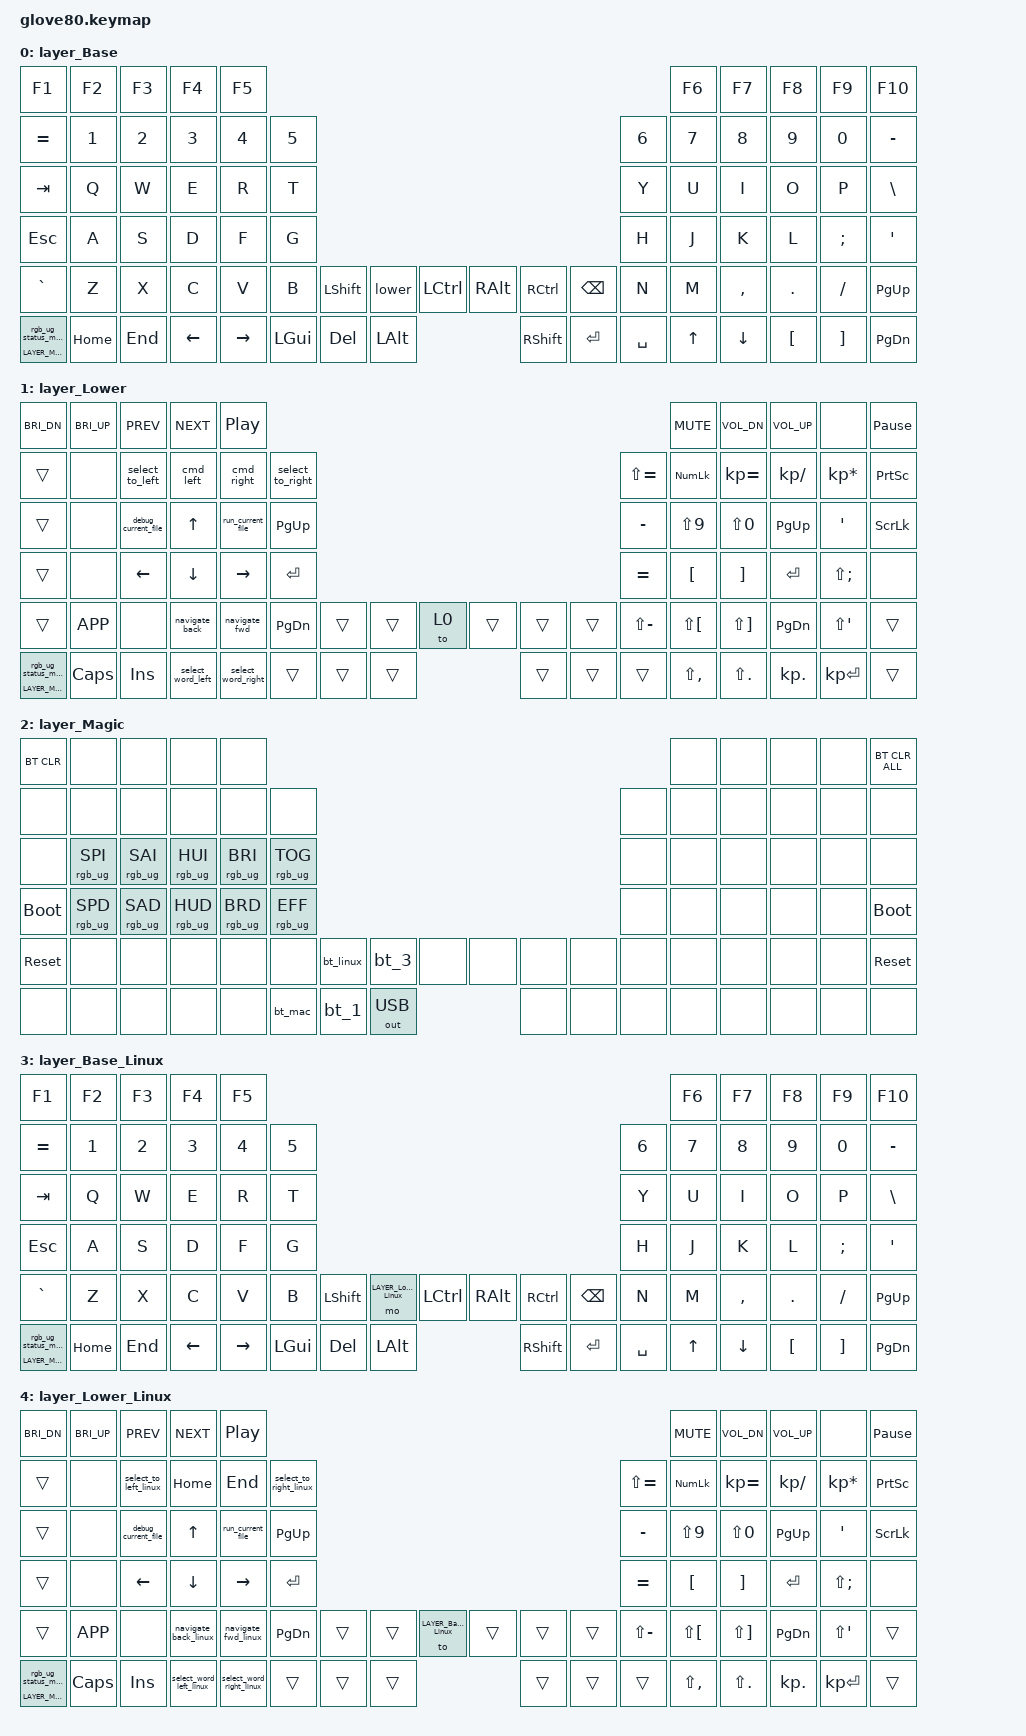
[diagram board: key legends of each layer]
/*
 * Copyright (c) 2020 The ZMK Contributors
 * Copyright (c) 2025 Innaworks Development Limited, trading as MoErgo
 *
 * SPDX-License-Identifier: MIT
 */


/* THIS FILE WAS GENERATED BY GLOVE80 LAYOUT EDITOR
 *
 * This file was generated automatically. You may or may not want to
 * edit it directly.
 */

#include <behaviors.dtsi>
/* Include all behavior includes needed */
#include <dt-bindings/zmk/outputs.h>
#include <dt-bindings/zmk/keys.h>
#include <dt-bindings/zmk/bt.h>
#include <dt-bindings/zmk/rgb.h>

/* On demand includes */


/* Helper Macros, based on https://github.com/urob/zmk-helpers/ */

#pragma once

#define ZMK_HELPER_STRINGIFY(x) #x

// Preprocessor mechanism to overload macros, cf. https://stackoverflow.com/a/27051616/6114651
#define VARGS_(_10, _9, _8, _7, _6, _5, _4, _3, _2, _1, N, ...) N
#define VARGS(...) VARGS_(__VA_ARGS__, 10, 9, 8, 7, 6, 5, 4, 3, 2, 1, 0)
#define CONCAT_(a, b) a##b
#define CONCAT(a, b) CONCAT_(a, b)

#define ZMK_BEHAVIOR_CORE_tap_dance  \
    compatible = "zmk,behavior-tap-dance"; \
    #binding-cells = <0>

#define ZMK_BEHAVIOR(name, type, ...) \
    name: name { \
        ZMK_BEHAVIOR_CORE_ ## type; \
        __VA_ARGS__ \
    };

#define ZMK_TAP_DANCE(name, ...) \
    ZMK_BEHAVIOR(name, tap_dance, __VA_ARGS__)

#define ZMK_TD_LAYER(name, layer) \
    ZMK_TAP_DANCE(name, \
        tapping-term-ms = <200>; \
        bindings = <&mo layer>, <&to layer>; \
)

/* Environment and metadata defines */
#define KB_TYPE_GLOVE_80 1
#define KB_TYPE_GO_60    2

#define KB_TYPE          KB_TYPE_GLOVE_80
#define EDITOR_HOST_OS   'M'

/* Automatically generated layer name defines */
#define LAYER_Base 0
#define LAYER_Lower 1
#define LAYER_Magic 2
#define LAYER_Base_Linux 3
#define LAYER_Lower_Linux 4

/* To deal with the situation where there is no Lower layer, to keep &lower happy */
#ifndef LAYER_Lower
#define LAYER_Lower 0
#endif

/* Custom Device-tree */


/* Input Listeners */


/* System behavior and Macros */
/ {
    behaviors {
        ZMK_TD_LAYER(lower, LAYER_Lower)
    };
};

/ {
    macros {
        rgb_ug_status_macro: rgb_ug_status_macro {
            label = "RGB_UG_STATUS";
            compatible = "zmk,behavior-macro";
            #binding-cells = <0>;
            bindings
                = <&rgb_ug RGB_STATUS>;
        };
    };
};


/ {
#ifdef BT_DISC_CMD
    behaviors {
        bt_0: bt_0 {
            compatible = "zmk,behavior-tap-dance";
            label = "BT_0";
            #binding-cells = <0>;
            tapping-term-ms = <200>;
            bindings = <&bt_select_0>, <&bt BT_DISC 0>;
        };
        bt_1: bt_1 {
            compatible = "zmk,behavior-tap-dance";
            label = "BT_1";
            #binding-cells = <0>;
            tapping-term-ms = <200>;
            bindings = <&bt_select_1>, <&bt BT_DISC 1>;
        };
        bt_2: bt_2 {
            compatible = "zmk,behavior-tap-dance";
            label = "BT_2";
            #binding-cells = <0>;
            tapping-term-ms = <200>;
            bindings = <&bt_select_2>, <&bt BT_DISC 2>;
        };
        bt_3: bt_3 {
            compatible = "zmk,behavior-tap-dance";
            label = "BT_3";
            #binding-cells = <0>;
            tapping-term-ms = <200>;
            bindings = <&bt_select_3>, <&bt BT_DISC 3>;
        };
    };
    macros {
        bt_select_0: bt_select_0 {
            label = "BT_SELECT_0";
            compatible = "zmk,behavior-macro";
            #binding-cells = <0>;
            bindings
                = <&out OUT_BLE>,
                  <&bt BT_SEL 0>;
        };
        bt_select_1: bt_select_1 {
            label = "BT_SELECT_1";
            compatible = "zmk,behavior-macro";
            #binding-cells = <0>;
            bindings
                = <&out OUT_BLE>,
                  <&bt BT_SEL 1>;
        };
        bt_select_2: bt_select_2 {
            label = "BT_SELECT_2";
            compatible = "zmk,behavior-macro";
            #binding-cells = <0>;
            bindings
                = <&out OUT_BLE>,
                  <&bt BT_SEL 2>;
        };
        bt_select_3: bt_select_3 {
            label = "BT_SELECT_3";
            compatible = "zmk,behavior-macro";
            #binding-cells = <0>;
            bindings
                = <&out OUT_BLE>,
                  <&bt BT_SEL 3>;
        };
    };
#else
    macros {
        bt_0: bt_0 {
            label = "BT_0";
            compatible = "zmk,behavior-macro";
            #binding-cells = <0>;
            bindings
                = <&out OUT_BLE>,
                  <&bt BT_SEL 0>;
        };
        bt_1: bt_1 {
            label = "BT_1";
            compatible = "zmk,behavior-macro";
            #binding-cells = <0>;
            bindings
                = <&out OUT_BLE>,
                  <&bt BT_SEL 1>;
        };
        bt_2: bt_2 {
            label = "BT_2";
            compatible = "zmk,behavior-macro";
            #binding-cells = <0>;
            bindings
                = <&out OUT_BLE>,
                  <&bt BT_SEL 2>;
        };
        bt_3: bt_3 {
            label = "BT_3";
            compatible = "zmk,behavior-macro";
            #binding-cells = <0>;
            bindings
                = <&out OUT_BLE>,
                  <&bt BT_SEL 3>;
        };
    };
#endif
};

/ {
    behaviors {
        magic: magic {
            compatible = "zmk,behavior-hold-tap";
            label = "MAGIC_HOLD_TAP";
            #binding-cells = <2>;
            flavor = "tap-preferred";
            tapping-term-ms = <200>;
            bindings = <&mo>, <&rgb_ug_status_macro>;
        };
    };
};


/* Key positions */

#define POS_LH_C6R1 0
#define POS_LH_C5R1 1
#define POS_LH_C4R1 2
#define POS_LH_C3R1 3
#define POS_LH_C2R1 4
#define POS_RH_C2R1 5
#define POS_RH_C3R1 6
#define POS_RH_C4R1 7
#define POS_RH_C5R1 8
#define POS_RH_C6R1 9
#define POS_LH_C6R2 10
#define POS_LH_C5R2 11
#define POS_LH_C4R2 12
#define POS_LH_C3R2 13
#define POS_LH_C2R2 14
#define POS_LH_C1R2 15
#define POS_RH_C1R2 16
#define POS_RH_C2R2 17
#define POS_RH_C3R2 18
#define POS_RH_C4R2 19
#define POS_RH_C5R2 20
#define POS_RH_C6R2 21
#define POS_LH_C6R3 22
#define POS_LH_C5R3 23
#define POS_LH_C4R3 24
#define POS_LH_C3R3 25
#define POS_LH_C2R3 26
#define POS_LH_C1R3 27
#define POS_RH_C1R3 28
#define POS_RH_C2R3 29
#define POS_RH_C3R3 30
#define POS_RH_C4R3 31
#define POS_RH_C5R3 32
#define POS_RH_C6R3 33
#define POS_LH_C6R4 34
#define POS_LH_C5R4 35
#define POS_LH_C4R4 36
#define POS_LH_C3R4 37
#define POS_LH_C2R4 38
#define POS_LH_C1R4 39
#define POS_RH_C1R4 40
#define POS_RH_C2R4 41
#define POS_RH_C3R4 42
#define POS_RH_C4R4 43
#define POS_RH_C5R4 44
#define POS_RH_C6R4 45
#define POS_LH_C6R5 46
#define POS_LH_C5R5 47
#define POS_LH_C4R5 48
#define POS_LH_C3R5 49
#define POS_LH_C2R5 50
#define POS_LH_C1R5 51
#define POS_LH_T1 52
#define POS_LH_T2 53
#define POS_LH_T3 54
#define POS_RH_T3 55
#define POS_RH_T2 56
#define POS_RH_T1 57
#define POS_RH_C1R5 58
#define POS_RH_C2R5 59
#define POS_RH_C3R5 60
#define POS_RH_C4R5 61
#define POS_RH_C5R5 62
#define POS_RH_C6R5 63
#define POS_LH_C6R6 64
#define POS_LH_C5R6 65
#define POS_LH_C4R6 66
#define POS_LH_C3R6 67
#define POS_LH_C2R6 68
#define POS_LH_T4 69
#define POS_LH_T5 70
#define POS_LH_T6 71
#define POS_RH_T6 72
#define POS_RH_T5 73
#define POS_RH_T4 74
#define POS_RH_C2R6 75
#define POS_RH_C3R6 76
#define POS_RH_C4R6 77
#define POS_RH_C5R6 78
#define POS_RH_C6R6 79


/* Custom Defined Behaviors */
/ {
    macros {
        run_macro: run_macro {
            label = "Run Macro";
            compatible = "zmk,behavior-macro";
            #binding-cells = <0>;
            wait-ms = <40>;
            tap-ms = <40>;
            bindings = <&macro_press &kp LSHFT>, <&macro_tap &kp F10>, <&macro_release &kp LSHFT>;
        };
        debug_macro: debug_macro {
            label = "Debug Macro";
            compatible = "zmk,behavior-macro";
            #binding-cells = <0>;
            wait-ms = <40>;
            tap-ms = <40>;
            bindings = <&macro_press &kp LSHFT>, <&macro_tap &kp F9>, <&macro_release &kp LSHFT>;
        };
    };

};

/* Generated input processors */


/* Automatically generated macro definitions */
/ {
    macros {

        debug_current_file: debug_current_file {
            label = "&DEBUG_CURRENT_FILE";
            compatible = "zmk,behavior-macro";
            #binding-cells = <0>;
            bindings = <&macro_press>
                , <&kp LCTRL>
                , <&kp LSHFT>
                , <&macro_tap>
                , <&kp D>
                , <&macro_release>
                , <&kp LCTRL>
                , <&kp LSHFT>;
        };

        run_current_file: run_current_file {
            label = "&RUN_CURRENT_FILE";
            compatible = "zmk,behavior-macro";
            #binding-cells = <0>;
            bindings = <&macro_press>
                , <&kp LCTRL>
                , <&kp LSHFT>
                , <&macro_tap>
                , <&kp R>
                , <&macro_release>
                , <&kp LCTRL>
                , <&kp LSHFT>;
        };

        navigate_back: navigate_back {
            label = "&NAVIGATE_BACK";
            compatible = "zmk,behavior-macro";
            #binding-cells = <0>;
            bindings = <&macro_press>
                , <&kp LSHFT>
                , <&kp LGUI>
                , <&macro_tap>
                , <&kp LBKT>
                , <&macro_release>
                , <&kp LSHFT>
                , <&kp LGUI>;
        };

        navigate_fwd: navigate_fwd {
            label = "&NAVIGATE_FWD";
            compatible = "zmk,behavior-macro";
            #binding-cells = <0>;
            bindings = <&macro_press>
                , <&kp LSHFT>
                , <&kp LGUI>
                , <&macro_tap>
                , <&kp RBKT>
                , <&macro_release>
                , <&kp LSHFT>
                , <&kp LGUI>;
        };

        select_to_right: select_to_right {
            label = "&SELECT_TO_RIGHT";
            compatible = "zmk,behavior-macro";
            #binding-cells = <0>;
            bindings = <&macro_press>
                , <&kp LSHFT>
                , <&kp LGUI>
                , <&macro_tap>
                , <&kp RIGHT>
                , <&macro_release>
                , <&kp LSHFT>
                , <&kp LGUI>;
        };

        cmd_right: cmd_right {
            label = "&CMD_RIGHT";
            compatible = "zmk,behavior-macro";
            #binding-cells = <0>;
            bindings = <&macro_press>
                , <&kp LGUI>
                , <&macro_tap>
                , <&kp RIGHT>
                , <&macro_release>
                , <&kp LGUI>;
        };

        cmd_left: cmd_left {
            label = "&CMD_LEFT";
            compatible = "zmk,behavior-macro";
            #binding-cells = <0>;
            bindings = <&macro_press>
                , <&kp LGUI>
                , <&macro_tap>
                , <&kp LEFT>
                , <&macro_release>
                , <&kp LGUI>;
        };

        select_to_left: select_to_left {
            label = "&SELECT_TO_LEFT";
            compatible = "zmk,behavior-macro";
            #binding-cells = <0>;
            bindings = <&macro_press>
                , <&kp LSHFT>
                , <&kp LGUI>
                , <&macro_tap>
                , <&kp LEFT>
                , <&macro_release>
                , <&kp LSHFT>
                , <&kp LGUI>;
        };

        select_word_left: select_word_left {
            label = "&SELECT_WORD_LEFT";
            compatible = "zmk,behavior-macro";
            #binding-cells = <0>;
            bindings = <&macro_press>
                , <&kp LSHFT>
                , <&kp LALT>
                , <&macro_tap>
                , <&kp LEFT>
                , <&macro_release>
                , <&kp LSHFT>
                , <&kp LALT>;
        };

        select_word_right: select_word_right {
            label = "&SELECT_WORD_RIGHT";
            compatible = "zmk,behavior-macro";
            #binding-cells = <0>;
            bindings = <&macro_press>
                , <&kp LSHFT>
                , <&kp LALT>
                , <&macro_tap>
                , <&kp RIGHT>
                , <&macro_release>
                , <&kp LSHFT>
                , <&kp LALT>;
        };

        // Shift+Home (select to line start on Linux)
        select_to_left_linux: select_to_left_linux {
            label = "&SELECT_TO_LEFT_LINUX";
            compatible = "zmk,behavior-macro";
            #binding-cells = <0>;
            bindings = <&macro_press>
                , <&kp LSHFT>
                , <&macro_tap>
                , <&kp HOME>
                , <&macro_release>
                , <&kp LSHFT>;
        };

        // Shift+End (select to line end on Linux)
        select_to_right_linux: select_to_right_linux {
            label = "&SELECT_TO_RIGHT_LINUX";
            compatible = "zmk,behavior-macro";
            #binding-cells = <0>;
            bindings = <&macro_press>
                , <&kp LSHFT>
                , <&macro_tap>
                , <&kp END>
                , <&macro_release>
                , <&kp LSHFT>;
        };

        // Ctrl+Shift+Left (select word left on Linux)
        select_word_left_linux: select_word_left_linux {
            label = "&SELECT_WORD_LEFT_LINUX";
            compatible = "zmk,behavior-macro";
            #binding-cells = <0>;
            bindings = <&macro_press>
                , <&kp LCTRL>
                , <&kp LSHFT>
                , <&macro_tap>
                , <&kp LEFT>
                , <&macro_release>
                , <&kp LCTRL>
                , <&kp LSHFT>;
        };

        // Ctrl+Shift+Right (select word right on Linux)
        select_word_right_linux: select_word_right_linux {
            label = "&SELECT_WORD_RIGHT_LINUX";
            compatible = "zmk,behavior-macro";
            #binding-cells = <0>;
            bindings = <&macro_press>
                , <&kp LCTRL>
                , <&kp LSHFT>
                , <&macro_tap>
                , <&kp RIGHT>
                , <&macro_release>
                , <&kp LCTRL>
                , <&kp LSHFT>;
        };

        // Ctrl+Shift+Tab (previous tab on Linux)
        navigate_back_linux: navigate_back_linux {
            label = "&NAVIGATE_BACK_LINUX";
            compatible = "zmk,behavior-macro";
            #binding-cells = <0>;
            bindings = <&macro_press>
                , <&kp LCTRL>
                , <&kp LSHFT>
                , <&macro_tap>
                , <&kp TAB>
                , <&macro_release>
                , <&kp LCTRL>
                , <&kp LSHFT>;
        };

        // Ctrl+Tab (next tab on Linux)
        navigate_fwd_linux: navigate_fwd_linux {
            label = "&NAVIGATE_FWD_LINUX";
            compatible = "zmk,behavior-macro";
            #binding-cells = <0>;
            bindings = <&macro_press>
                , <&kp LCTRL>
                , <&macro_tap>
                , <&kp TAB>
                , <&macro_release>
                , <&kp LCTRL>;
        };

        // BT0 + switch to Mac base layer
        bt_mac: bt_mac {
            label = "&BT_MAC";
            compatible = "zmk,behavior-macro";
            #binding-cells = <0>;
            bindings = <&out OUT_BLE>
                , <&bt BT_SEL 0>
                , <&to 0>;
        };

        // BT2 + switch to Linux base layer
        bt_linux: bt_linux {
            label = "&BT_LINUX";
            compatible = "zmk,behavior-macro";
            #binding-cells = <0>;
            bindings = <&out OUT_BLE>
                , <&bt BT_SEL 2>
                , <&to LAYER_Base_Linux>;
        };
    };
};

/* Automatically generated behavior definitions */
/ {
    behaviors {


    };
};

/* Automatically generated combos definitions */


/* Automatically generated keymap */
/ {
    keymap {
        compatible = "zmk,keymap";


        layer_Base {
            bindings = <
               &kp F1    &kp F2   &kp F3    &kp F4     &kp F5                                                                                  &kp F6     &kp F7    &kp F8    &kp F9    &kp F10
            &kp EQUAL    &kp N1   &kp N2    &kp N3     &kp N4  &kp N5                                                                  &kp N6  &kp N7     &kp N8    &kp N9    &kp N0  &kp MINUS
              &kp TAB     &kp Q    &kp W     &kp E      &kp R   &kp T                                                                   &kp Y   &kp U      &kp I     &kp O     &kp P   &kp BSLH
              &kp ESC     &kp A    &kp S     &kp D      &kp F   &kp G                                                                   &kp H   &kp J      &kp K     &kp L  &kp SEMI    &kp SQT
            &kp GRAVE     &kp Z    &kp X     &kp C      &kp V   &kp B  &kp LSHFT   &lower  &kp LCTRL   &kp RALT  &kp RCTRL   &kp BSPC   &kp N   &kp M  &kp COMMA   &kp DOT  &kp FSLH  &kp PG_UP
 &magic LAYER_Magic 0  &kp HOME  &kp END  &kp LEFT  &kp RIGHT           &kp LGUI  &kp DEL   &kp LALT  &kp RSHFT    &kp RET  &kp SPACE          &kp UP   &kp DOWN  &kp LBKT  &kp RBKT  &kp PG_DN
            >;
        };

        layer_Lower {
            bindings = <
         &kp C_BRI_DN  &kp C_BRI_UP           &kp C_PREV         &kp C_NEXT            &kp C_PP                                                                                      &kp C_MUTE  &kp C_VOL_DN  &kp C_VOL_UP                 &none  &kp PAUSE_BREAK
               &trans         &none      &select_to_left          &cmd_left          &cmd_right  &select_to_right                                                  &kp LS(EQUAL)     &kp KP_NUM  &kp KP_EQUAL  &kp KP_SLASH       &kp KP_MULTIPLY  &kp PRINTSCREEN
               &trans         &none  &debug_current_file       &kp UP_ARROW   &run_current_file         &kp PG_UP                                                      &kp MINUS     &kp LS(N9)    &kp LS(N0)     &kp PG_UP               &kp SQT   &kp SCROLLLOCK
               &trans         &none             &kp LEFT     &kp DOWN_ARROW     &kp RIGHT_ARROW           &kp RET                                                      &kp EQUAL       &kp LBKT      &kp RBKT       &kp RET          &kp LS(SEMI)            &none
               &trans     &kp K_APP                &none     &navigate_back       &navigate_fwd         &kp PG_DN  &trans  &trans   &to 0  &trans  &trans  &trans  &kp LS(MINUS)   &kp LS(LBKT)  &kp LS(RBKT)     &kp PG_DN  &kp LS(SINGLE_QUOTE)           &trans
 &magic LAYER_Magic 0      &kp CAPS              &kp INS  &select_word_left  &select_word_right                    &trans  &trans  &trans  &trans  &trans  &trans                 &kp LS(COMMA)   &kp LS(DOT)    &kp KP_DOT          &kp KP_ENTER           &trans
            >;
        };

        layer_Magic {
            bindings = <
  &bt BT_CLR            &none            &none            &none            &none                                                                                     &none   &none   &none   &none  &bt BT_CLR_ALL
       &none            &none            &none            &none            &none            &none                                                            &none   &none   &none   &none   &none           &none
       &none  &rgb_ug RGB_SPI  &rgb_ug RGB_SAI  &rgb_ug RGB_HUI  &rgb_ug RGB_BRI  &rgb_ug RGB_TOG                                                            &none   &none   &none   &none   &none           &none
 &bootloader  &rgb_ug RGB_SPD  &rgb_ug RGB_SAD  &rgb_ug RGB_HUD  &rgb_ug RGB_BRD  &rgb_ug RGB_EFF                                                            &none   &none   &none   &none   &none     &bootloader
  &sys_reset            &none            &none            &none            &none            &none  &bt_linux   &bt_3         &none   &none   &none   &none   &none   &none   &none   &none   &none      &sys_reset
       &none            &none            &none            &none            &none                     &bt_mac   &bt_1  &out OUT_USB   &none   &none   &none           &none   &none   &none   &none           &none
            >;
        };

        layer_Base_Linux {
            bindings = <
               &kp F1    &kp F2   &kp F3    &kp F4     &kp F5                                                                                               &kp F6     &kp F7    &kp F8    &kp F9    &kp F10
            &kp EQUAL    &kp N1   &kp N2    &kp N3     &kp N4  &kp N5                                                                               &kp N6  &kp N7     &kp N8    &kp N9    &kp N0  &kp MINUS
              &kp TAB     &kp Q    &kp W     &kp E      &kp R   &kp T                                                                                &kp Y   &kp U      &kp I     &kp O     &kp P   &kp BSLH
              &kp ESC     &kp A    &kp S     &kp D      &kp F   &kp G                                                                                &kp H   &kp J      &kp K     &kp L  &kp SEMI    &kp SQT
            &kp GRAVE     &kp Z    &kp X     &kp C      &kp V   &kp B  &kp LSHFT  &mo LAYER_Lower_Linux  &kp LCTRL   &kp RALT  &kp RCTRL   &kp BSPC   &kp N   &kp M  &kp COMMA   &kp DOT  &kp FSLH  &kp PG_UP
 &magic LAYER_Magic 0  &kp HOME  &kp END  &kp LEFT  &kp RIGHT           &kp LGUI                &kp DEL  &kp LALT  &kp RSHFT    &kp RET  &kp SPACE          &kp UP   &kp DOWN  &kp LBKT  &kp RBKT  &kp PG_DN
            >;
        };

        layer_Lower_Linux {
            bindings = <
         &kp C_BRI_DN  &kp C_BRI_UP             &kp C_PREV               &kp C_NEXT                  &kp C_PP                                                                                                          &kp C_MUTE  &kp C_VOL_DN  &kp C_VOL_UP                 &none  &kp PAUSE_BREAK
               &trans         &none  &select_to_left_linux                 &kp HOME                   &kp END  &select_to_right_linux                                                                &kp LS(EQUAL)     &kp KP_NUM  &kp KP_EQUAL  &kp KP_SLASH       &kp KP_MULTIPLY  &kp PRINTSCREEN
               &trans         &none    &debug_current_file             &kp UP_ARROW         &run_current_file               &kp PG_UP                                                                    &kp MINUS     &kp LS(N9)    &kp LS(N0)     &kp PG_UP               &kp SQT   &kp SCROLLLOCK
               &trans         &none               &kp LEFT           &kp DOWN_ARROW           &kp RIGHT_ARROW                 &kp RET                                                                    &kp EQUAL       &kp LBKT      &kp RBKT       &kp RET          &kp LS(SEMI)            &none
               &trans     &kp K_APP                  &none     &navigate_back_linux       &navigate_fwd_linux               &kp PG_DN  &trans  &trans  &to LAYER_Base_Linux  &trans  &trans  &trans  &kp LS(MINUS)   &kp LS(LBKT)  &kp LS(RBKT)     &kp PG_DN  &kp LS(SINGLE_QUOTE)           &trans
 &magic LAYER_Magic 0      &kp CAPS                &kp INS  &select_word_left_linux  &select_word_right_linux                          &trans  &trans                &trans  &trans  &trans  &trans                 &kp LS(COMMA)   &kp LS(DOT)    &kp KP_DOT          &kp KP_ENTER           &trans
            >;
        };

    };
};
